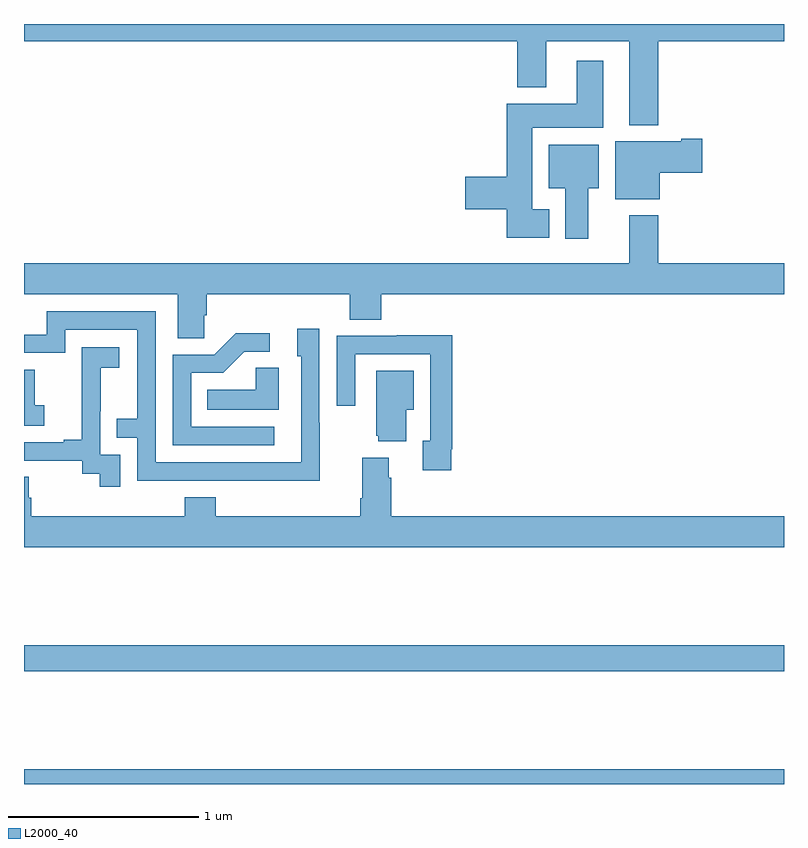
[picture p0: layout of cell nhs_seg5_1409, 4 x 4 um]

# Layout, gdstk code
import gdstk
lib = gdstk.Library(unit=1e-6, precision=1e-09)
def R(c, l, rs):  # rectangles x0, y0, x1, y1
    for r in rs: c.add(gdstk.rectangle(r[:2], r[2:], *l))
def P(c, l, *ps):  # polygons
    for p in ps: c.add(gdstk.Polygon(p, *l))
L2000_40 = (2000, 40)

nhs_seg5_1409 = lib.new_cell('nhs_seg5_1409')
R(nhs_seg5_1409, L2000_40, [(195,904.799,199,904.876), (195,905.392,199,905.528)])
P(nhs_seg5_1409, L2000_40, [(198.338,908.708),(199,908.708),(199,908.799),(195,908.799),(195,908.708),(197.597,908.708),(197.597,908.465),(197.749,908.465),(197.749,908.708),(198.185,908.708),(198.185,908.267),(198.338,908.267)],
  [(197.764,907.825),(197.674,907.825),(197.674,908.252),(198.049,908.252),(198.049,908.605),(197.909,908.605),(197.909,908.38),(197.54,908.38),(197.54,907.994),(197.322,907.994),(197.322,907.823),(197.54,907.823),(197.54,907.673),(197.764,907.673)],
  [(198.346,908.017),(198.571,908.017),(198.571,908.195),(198.458,908.195),(198.458,908.182),(198.113,908.182),(198.113,907.877),(198.346,907.877)],
  [(197.971,907.934),(198.025,907.934),(198.025,908.164),(197.762,908.164),(197.762,907.934),(197.849,907.934),(197.849,907.668),(197.971,907.668)],
  [(195.948,907.267),(195.962,907.267),(195.962,907.376),(196.715,907.376),(196.715,907.243),(196.88,907.243),(196.88,907.376),(199,907.376),(199,907.54),(198.338,907.54),(198.338,907.792),(198.185,907.792),(198.185,907.54),(195,907.54),(195,907.376),(195.809,907.376),(195.809,907.144),(195.948,907.144)],
  [(196.557,906.701),(196.554,906.701),(196.554,907.195),(196.439,907.195),(196.439,907.05),(196.458,907.05),(196.458,906.492),(195.693,906.492),(195.693,907.287),(195.119,907.287),(195.119,907.164),(195,907.164),(195,907.068),(195.216,907.068),(195.216,907.191),(195.597,907.191),(195.597,906.722),(195.487,906.722),(195.487,906.621),(195.597,906.621),(195.597,906.396),(196.093,906.396),(196.093,906.395),(196.557,906.395)],
  [(196.318,906.678),(195.879,906.678),(195.879,906.963),(196.048,906.963),(196.159,907.074),(196.294,907.074),(196.294,907.172),(196.115,907.172),(196.002,907.059),(195.783,907.059),(195.783,906.582),(196.318,906.582)],
  [(197.248,906.562),(197.255,906.562),(197.255,907.16),(196.963,907.16),(196.963,907.158),(196.647,907.158),(196.647,906.789),(196.743,906.789),(196.743,907.062),(197.139,907.062),(197.139,906.606),(197.099,906.606),(197.099,906.45),(197.248,906.45)],
  [(195.507,906.531),(195.402,906.531),(195.402,906.761),(195.404,906.761),(195.404,906.989),(195.502,906.989),(195.502,907.099),(195.304,907.099),(195.304,906.893),(195.305,906.893),(195.305,906.61),(195.209,906.61),(195.209,906.597),(195,906.597),(195,906.501),(195.306,906.501),(195.306,906.433),(195.399,906.433),(195.399,906.363),(195.507,906.363)],
  [(196.342,906.989),(196.221,906.989),(196.221,906.874),(195.964,906.874),(195.964,906.77),(196.342,906.77)],
  [(195.106,906.793),(195.057,906.793),(195.057,906.978),(195,906.978),(195,906.684),(195.106,906.684)],
  [(197.011,906.77),(197.05,906.77),(197.05,906.973),(196.853,906.973),(196.853,906.633),(196.865,906.633),(196.865,906.602),(197.011,906.602)],
  [(199,906.208),(196.934,906.208),(196.934,906.41),(196.921,906.41),(196.921,906.517),(196.781,906.517),(196.781,906.304),(196.769,906.304),(196.769,906.208),(196.01,906.208),(196.01,906.307),(195.845,906.307),(195.845,906.208),(195.038,906.208),(195.038,906.306),(195.025,906.306),(195.025,906.416),(195,906.416),(195,906.044),(199,906.044)])

lib.write_gds('nhs_seg5_1409.gds')
